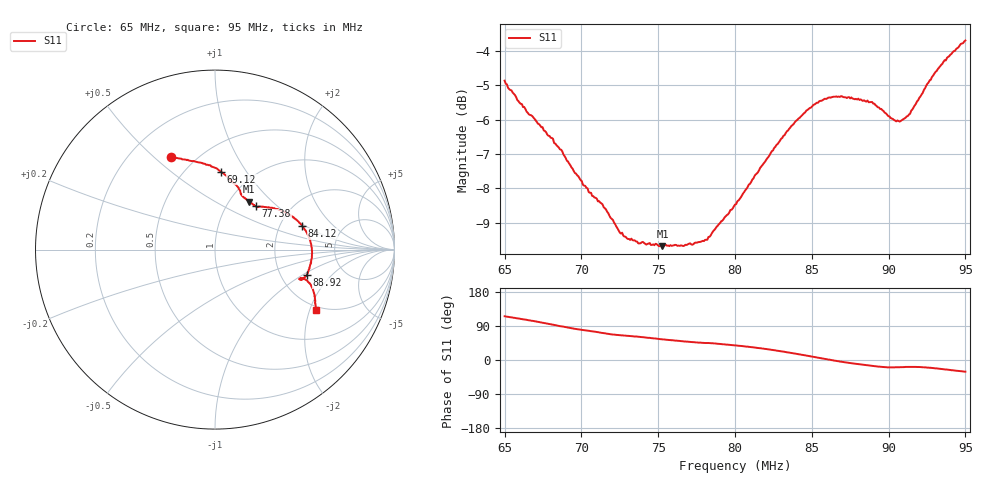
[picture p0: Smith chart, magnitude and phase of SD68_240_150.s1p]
! NanoVNA-App
! Date: 2025-08-09 13:46:16
! Start: 65MHz Stop: 95MHz Points: 401
! S-Parameter data: F S11
# Hz S RI R 50
!  Frequency  S11_Real  S11_Imag
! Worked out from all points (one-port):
!   401 points, 65 MHz to 95 MHz, reference 50 ohm
!   lowest |S11| = -9.7 dB at 75.28 MHz (marker M1), VSWR 1.98, Z = 61.4 + j36.8 ohm
!   |S11| at or under -10 dB: nowhere
!   S11 on the Smith chart (normalised r, x): 65 MHz: 0.37, +0.57; 69.12 MHz: 0.72, +0.77; 77.38 MHz: 1.36, +0.74; 84.12 MHz: 2.64, +0.94; 88.92 MHz: 2.78, -1.10; 95 MHz: 1.88, -2.19
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6.5e7  -0.2448 0.5157
6.7325e7  -0.0796 0.4843
6.875e7  0.0115 0.4507
6.9125e7  0.0334 0.4343
6.9725e7  0.0636 0.411
7.145e7  0.1224 0.3534
7.25e7  0.1428 0.3123
7.37e7  0.1587 0.2908
7.5275e7  0.1903 0.2674
7.625e7  0.2075 0.2547
7.7375e7  0.2279 0.2411
7.835e7  0.2408 0.2381
8e7  0.2946 0.2356
8.2025e7  0.3829 0.2123
8.3e7  0.4323 0.1842
8.375e7  0.4684 0.1511
8.4125e7  0.4848 0.1329
8.57e7  0.5335 0.0369
8.645e7  0.5409 -0.0132
8.75e7  0.5329 -0.0736
8.8925e7  0.5121 -0.1423
8.975e7  0.4857 -0.1645
9.035e7  0.4719 -0.167
9.125e7  0.4814 -0.1592
9.1925e7  0.5073 -0.1687
9.26e7  0.533 -0.1946
9.3725e7  0.5535 -0.2583
9.5e7  0.5605 -0.335
